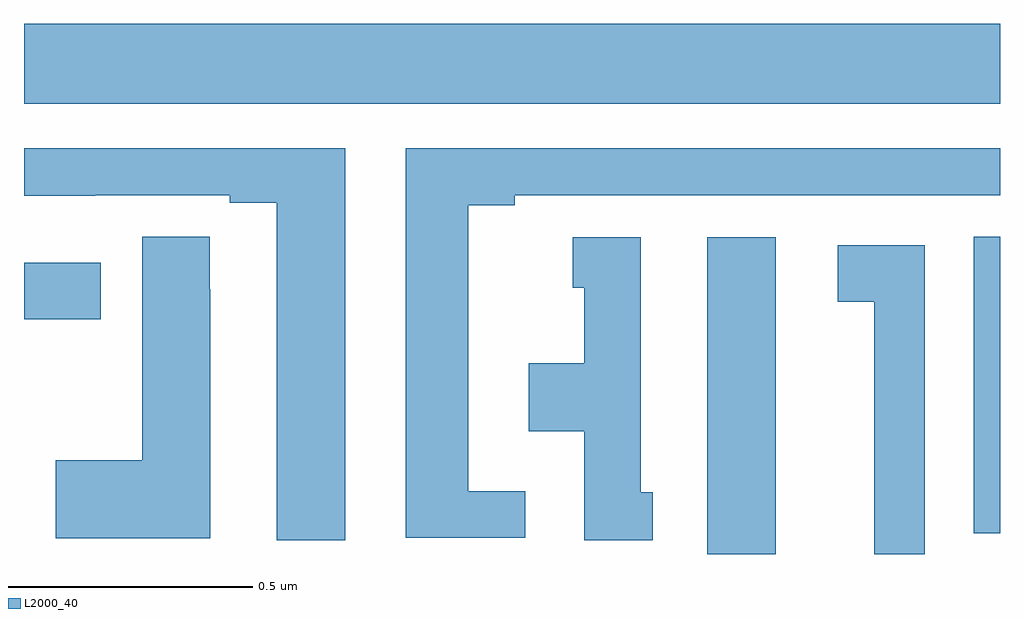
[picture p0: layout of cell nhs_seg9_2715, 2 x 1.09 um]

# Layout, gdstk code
import gdstk
lib = gdstk.Library(unit=1e-6, precision=1e-09)
def R(c, l, rs):  # rectangles x0, y0, x1, y1
    for r in rs: c.add(gdstk.rectangle(r[:2], r[2:], *l))
def P(c, l, *ps):  # polygons
    for p in ps: c.add(gdstk.Polygon(p, *l))
L2000_40 = (2000, 40)

nhs_seg9_2715 = lib.new_cell('nhs_seg9_2715')
R(nhs_seg9_2715, L2000_40, [(145.4,1191.5,145.54,1192.15), (145.946,1191.543,146,1192.151), (144,1191.982,144.157,1192.098), (144,1192.424,146,1192.588)])
P(nhs_seg9_2715, L2000_40, [(144.658,1192.332),(144,1192.332),(144,1192.235),(144.146,1192.235),(144.146,1192.236),(144.422,1192.236),(144.422,1192.221),(144.518,1192.221),(144.518,1191.529),(144.658,1191.529)],
  [(145.027,1191.63),(144.91,1191.63),(144.91,1192.216),(145.006,1192.216),(145.006,1192.236),(146,1192.236),(146,1192.332),(144.782,1192.332),(144.782,1191.534),(145.027,1191.534)],
  [(144.382,1192.043),(144.381,1192.043),(144.381,1192.151),(144.242,1192.151),(144.242,1191.693),(144.065,1191.693),(144.065,1191.533),(144.382,1191.533)],
  [(145.288,1191.627),(145.264,1191.627),(145.264,1192.15),(145.124,1192.15),(145.124,1192.047),(145.148,1192.047),(145.148,1191.892),(145.034,1191.892),(145.034,1191.752),(145.148,1191.752),(145.148,1191.529),(145.288,1191.529)],
  [(145.846,1192.134),(145.668,1192.134),(145.668,1192.018),(145.742,1192.018),(145.742,1191.5),(145.846,1191.5)])

lib.write_gds('nhs_seg9_2715.gds')
